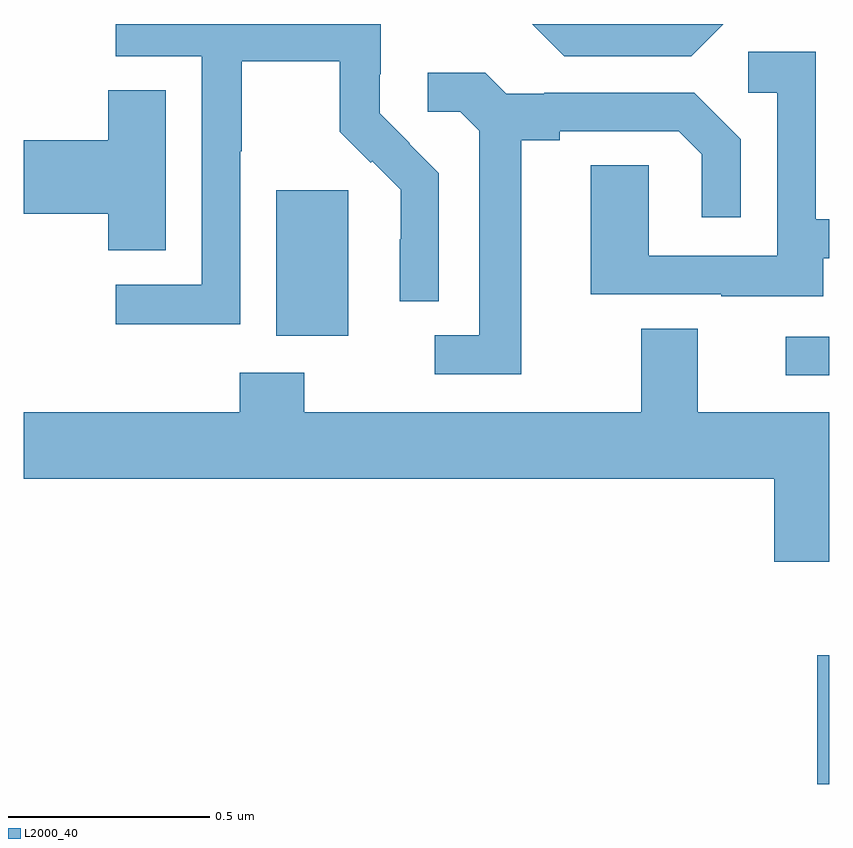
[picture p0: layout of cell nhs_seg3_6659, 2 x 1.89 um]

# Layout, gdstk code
import gdstk
lib = gdstk.Library(unit=1e-6, precision=1e-09)
def R(c, l, rs):  # rectangles x0, y0, x1, y1
    for r in rs: c.add(gdstk.rectangle(r[:2], r[2:], *l))
def P(c, l, *ps):  # polygons
    for p in ps: c.add(gdstk.Polygon(p, *l))
L2000_40 = (2000, 40)

nhs_seg3_6659 = lib.new_cell('nhs_seg3_6659')
R(nhs_seg3_6659, L2000_40, [(195.97,677.514,196,677.833), (195.891,678.528,196,678.624), (194.627,678.626,194.806,678.987)])
P(nhs_seg3_6659, L2000_40, [(194.538,679.084),(194.541,679.084),(194.541,679.308),(194.785,679.308),(194.785,679.133),(194.862,679.056),(194.865,679.059),(194.936,678.989),(194.936,678.866),(194.934,678.866),(194.934,678.712),(195.03,678.712),(195.03,679.03),(194.957,679.103),(194.958,679.104),(194.884,679.178),(194.884,679.275),(194.886,679.275),(194.886,679.4),(194.229,679.4),(194.229,679.32),(194.442,679.32),(194.442,678.753),(194.229,678.753),(194.229,678.655),(194.538,678.655)],
  [(195.737,679.4),(195.262,679.4),(195.342,679.32),(195.657,679.32)],
  [(195.985,678.819),(196,678.819),(196,678.915),(195.966,678.915),(195.966,679.331),(195.798,679.331),(195.798,679.23),(195.87,679.23),(195.87,678.825),(195.552,678.825),(195.552,679.049),(195.407,679.049),(195.407,678.729),(195.731,678.729),(195.731,678.725),(195.985,678.725)],
  [(195.235,679.112),(195.331,679.112),(195.331,679.134),(195.626,679.134),(195.683,679.077),(195.683,678.921),(195.78,678.921),(195.78,679.114),(195.664,679.23),(195.292,679.23),(195.292,679.227),(195.198,679.227),(195.146,679.279),(195.003,679.279),(195.003,679.182),(195.084,679.182),(195.131,679.135),(195.131,678.627),(195.021,678.627),(195.021,678.531),(195.235,678.531)],
  [(194.353,679.235),(194.21,679.235),(194.21,679.112),(194,679.112),(194,678.929),(194.21,678.929),(194.21,678.838),(194.353,678.838)],
  [(196,678.436),(195.673,678.436),(195.673,678.644),(195.533,678.644),(195.533,678.436),(194.697,678.436),(194.697,678.535),(194.537,678.535),(194.537,678.436),(194,678.436),(194,678.272),(195.863,678.272),(195.863,678.066),(196,678.066)])

lib.write_gds('nhs_seg3_6659.gds')
